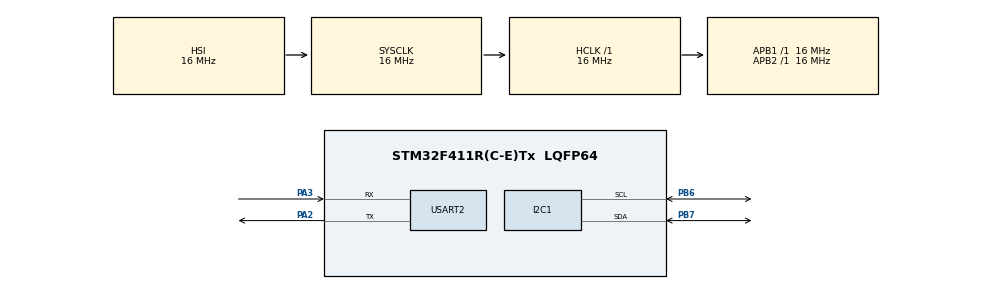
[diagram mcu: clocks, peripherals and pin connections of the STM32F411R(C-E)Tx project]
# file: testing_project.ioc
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I2C1.NoStretchMode=I2C_NOSTRETCH_DISABLE
Mcu.Family=STM32F4
Mcu.Name=STM32F411R(C-E)Tx
Mcu.Package=LQFP64
NVIC.I2C1_ER_IRQn=true\:0\:0\:false\:false\:true\:true\:true\:true
NVIC.I2C1_EV_IRQn=true\:0\:0\:false\:false\:true\:true\:true\:true
NVIC.PriorityGroup=NVIC_PRIORITYGROUP_4
PA2.Mode=Asynchronous
PA2.Signal=USART2_TX
PA3.Mode=Asynchronous
PA3.Signal=USART2_RX
PB6.Mode=I2C
PB6.Signal=I2C1_SCL
PB7.Mode=I2C
PB7.Signal=I2C1_SDA
ProjectManager.HeapSize=0x200
ProjectManager.StackSize=0x400
ProjectManager.TargetToolchain=STM32CubeIDE
RCC.AHBFreq_Value=16000000
RCC.APB1Freq_Value=16000000
RCC.APB2Freq_Value=16000000
RCC.CortexFreq_Value=16000000
RCC.HSE_VALUE=25000000
RCC.HSI_VALUE=16000000
RCC.LSE_VALUE=32768
RCC.SYSCLKFreq_VALUE=16000000
RCC.VCOOutputFreq_Value=192000000
USART2.VirtualMode=VM_ASYNC
board=custom

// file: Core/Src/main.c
/* USER CODE BEGIN Header */
/**
  ******************************************************************************
  * @file           : main.c
  * @brief          : Main program body
  ******************************************************************************
  * @attention
  *
  * Copyright (c) 2024 STMicroelectronics.
  * All rights reserved.
  *
  * This software is licensed under terms that can be found in the LICENSE file
  * in the root directory of this software component.
  * If no LICENSE file comes with this software, it is provided AS-IS.
  *
  ******************************************************************************
  */
/* USER CODE END Header */
#include "main.h"

/* USER CODE BEGIN Includes */
#include <stdio.h>
#include <stdbool.h>

/* USER CODE END Includes */

/* USER CODE BEGIN PTD */
#define SHT3X_I2C_TIMEOUT 30

typedef enum
{
	SHT3X_COMMAND_MEASURE_HIGHREP_STRETCH = 0x2c06,
	SHT3X_COMMAND_CLEAR_STATUS = 0x3041,
	SHT3X_COMMAND_SOFT_RESET = 0x30A2,
	SHT3X_COMMAND_HEATER_ENABLE = 0x306d,
	SHT3X_COMMAND_HEATER_DISABLE = 0x3066,
	SHT3X_COMMAND_READ_STATUS = 0xf32d,
	SHT3X_COMMAND_FETCH_DATA = 0xe000,
	SHT3X_COMMAND_MEASURE_HIGHREP_10HZ = 0x2737,
	SHT3X_COMMAND_MEASURE_LOWREP_10HZ = 0x272a
} sht3x_command_t;

typedef struct
{
	I2C_HandleTypeDef *i2c_handle;
	uint16_t device_address;
} sht3x_handle_t;

/* USER CODE END PTD */

I2C_HandleTypeDef hi2c1;

UART_HandleTypeDef huart2;

/* USER CODE BEGIN PV */
static const uint8_t SHT3X_I2C_DEVICE_ADDRESS = 0x44; // Use 8-bit address
static const uint8_t REG_TEMP = 0x00;
/* USER CODE END PV */

void SystemClock_Config(void);
static void MX_GPIO_Init(void);
static void MX_USART2_UART_Init(void);
static void MX_I2C1_Init(void);

/* USER CODE BEGIN 0 */
HAL_StatusTypeDef ret;
uint8_t buf[12];
int16_t val;
float temp_c;

// Create the handle for the sensor.
sht3x_handle_t handle = {
    .i2c_handle = &hi2c1,
    .device_address = SHT3X_I2C_DEVICE_ADDRESS
};

static uint8_t calculate_crc(const uint8_t *data, size_t length)
{
	uint8_t crc = 0xff;
	for (size_t i = 0; i < length; i++) {
		crc ^= data[i];
		for (size_t j = 0; j < 8; j++) {
			if ((crc & 0x80u) != 0) {
				crc = (uint8_t)((uint8_t)(crc << 1u) ^ 0x31u);
			} else {
				crc <<= 1u;
			}
		}
	}
	return crc;
}

bool sht3x_init(sht3x_handle_t *handle)
{
	assert(handle->i2c_handle->Init.NoStretchMode == I2C_NOSTRETCH_DISABLE);
	// TODO: Assert i2c frequency is not too high

	uint8_t status_reg_and_checksum[3];
	if (HAL_I2C_Mem_Read(handle->i2c_handle, handle->device_address << 1u, SHT3X_COMMAND_READ_STATUS, 2, (uint8_t*)&status_reg_and_checksum,
					  sizeof(status_reg_and_checksum), SHT3X_I2C_TIMEOUT) != HAL_OK) {
		return false;
	}

	uint8_t calculated_crc = calculate_crc(status_reg_and_checksum, 2);

	if (calculated_crc != status_reg_and_checksum[2]) {
		return false;
	}

	return true;
}
/* USER CODE END 0 */

int main(void)
{

  /* MCU Configuration--------------------------------------------------------*/

  /* Reset of all peripherals, Initializes the Flash interface and the Systick. */
  HAL_Init();

  /* Configure the system clock */
  SystemClock_Config();

  /* Initialize all configured peripherals */
  MX_GPIO_Init();
  MX_USART2_UART_Init();
  MX_I2C1_Init();
  /* USER CODE BEGIN 2 */
  uint8_t txData[] = "Hello, UART!\r\n";
  uint8_t sensor_data[2];

  /* USER CODE END 2 */

  /* Infinite loop */
  /* USER CODE BEGIN WHILE */
  while (1)
  {
	  // Initialise sensor (tests connection by reading the status register).
	  if (!sht3x_init(&handle)) {
		  printf("SHT3x access failed.\n\r");
	  }
    /* USER CODE END WHILE */

  }
}

void SystemClock_Config(void)
{
  RCC_OscInitTypeDef RCC_OscInitStruct = {0};
  RCC_ClkInitTypeDef RCC_ClkInitStruct = {0};

  /** Configure the main internal regulator output voltage
  */
  __HAL_RCC_PWR_CLK_ENABLE();
  __HAL_PWR_VOLTAGESCALING_CONFIG(PWR_REGULATOR_VOLTAGE_SCALE1);

  /** Initializes the RCC Oscillators according to the specified parameters
  * in the RCC_OscInitTypeDef structure.
  */
  RCC_OscInitStruct.OscillatorType = RCC_OSCILLATORTYPE_HSI;
  RCC_OscInitStruct.HSIState = RCC_HSI_ON;
  RCC_OscInitStruct.HSICalibrationValue = RCC_HSICALIBRATION_DEFAULT;
  RCC_OscInitStruct.PLL.PLLState = RCC_PLL_NONE;
  if (HAL_RCC_OscConfig(&RCC_OscInitStruct) != HAL_OK)
  {
    Error_Handler();
  }

  /** Initializes the CPU, AHB and APB buses clocks
  */
  RCC_ClkInitStruct.ClockType = RCC_CLOCKTYPE_HCLK|RCC_CLOCKTYPE_SYSCLK
                              |RCC_CLOCKTYPE_PCLK1|RCC_CLOCKTYPE_PCLK2;
  RCC_ClkInitStruct.SYSCLKSource = RCC_SYSCLKSOURCE_HSI;
  RCC_ClkInitStruct.AHBCLKDivider = RCC_SYSCLK_DIV1;
  RCC_ClkInitStruct.APB1CLKDivider = RCC_HCLK_DIV1;
  RCC_ClkInitStruct.APB2CLKDivider = RCC_HCLK_DIV1;

  if (HAL_RCC_ClockConfig(&RCC_ClkInitStruct, FLASH_LATENCY_0) != HAL_OK)
  {
    Error_Handler();
  }
}

static void MX_I2C1_Init(void)
{

  hi2c1.Instance = I2C1;
  hi2c1.Init.ClockSpeed = 100000;
  hi2c1.Init.DutyCycle = I2C_DUTYCYCLE_2;
  hi2c1.Init.OwnAddress1 = 0;
  hi2c1.Init.AddressingMode = I2C_ADDRESSINGMODE_7BIT;
  hi2c1.Init.DualAddressMode = I2C_DUALADDRESS_DISABLE;
  hi2c1.Init.OwnAddress2 = 0;
  hi2c1.Init.GeneralCallMode = I2C_GENERALCALL_DISABLE;
  hi2c1.Init.NoStretchMode = I2C_NOSTRETCH_DISABLE;
  if (HAL_I2C_Init(&hi2c1) != HAL_OK)
  {
    Error_Handler();
  }

}

static void MX_USART2_UART_Init(void)
{

  huart2.Instance = USART2;
  huart2.Init.BaudRate = 115200;
  huart2.Init.WordLength = UART_WORDLENGTH_8B;
  huart2.Init.StopBits = UART_STOPBITS_1;
  huart2.Init.Parity = UART_PARITY_NONE;
  huart2.Init.Mode = UART_MODE_TX_RX;
  huart2.Init.HwFlowCtl = UART_HWCONTROL_NONE;
  huart2.Init.OverSampling = UART_OVERSAMPLING_16;
  if (HAL_UART_Init(&huart2) != HAL_OK)
  {
    Error_Handler();
  }

}

static void MX_GPIO_Init(void)
{

  /* GPIO Ports Clock Enable */
  __HAL_RCC_GPIOA_CLK_ENABLE();
  __HAL_RCC_GPIOB_CLK_ENABLE();

}

void Error_Handler(void)
{
  __disable_irq();
  while (1)
  {
  }
}
